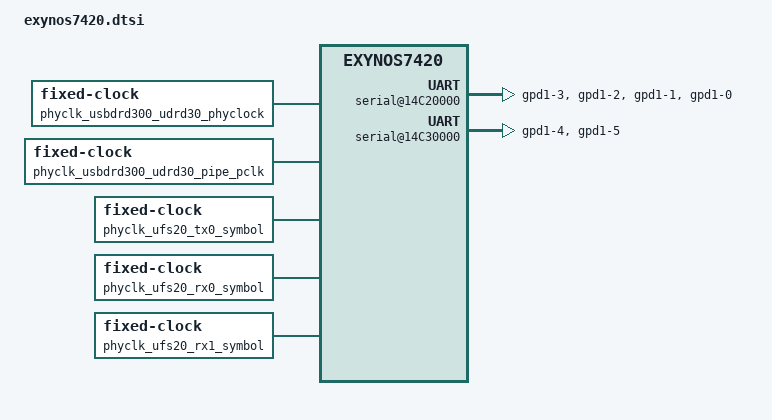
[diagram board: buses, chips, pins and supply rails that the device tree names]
// SPDX-License-Identifier: GPL-2.0+
/*
 * Samsung Exynos7420 SoC device tree source
 *
 * Copyright (c) 2016 Samsung Electronics Co., Ltd.
 *		http://www.samsung.com
 */

/dts-v1/;
#include "skeleton.dtsi"
#include <dt-bindings/clock/exynos7420-clk.h>
/ {
	compatible = "samsung,exynos7420";
	interrupt-parent = <&gic>;

	fin_pll: fin_pll {
		compatible = "fixed-clock";
		clock-output-names = "fin_pll";
		u-boot,dm-pre-reloc;
		#clock-cells = <0>;
	};

	phyclk_usbdrd300_udrd30_phyclock: phyclk_usbdrd300_udrd30_phyclock {
		compatible = "fixed-clock";
		clock-output-names = "phyclk_usbdrd300_udrd30_phyclock";
		#clock-cells = <0>;
		clock-frequency = <60000000>;
	};

	phyclk_usbdrd300_udrd30_pipe_pclk: phyclk_usbdrd300_udrd30_pipe_pclk {
		compatible = "fixed-clock";
		clock-output-names = "phyclk_usbdrd300_udrd30_pipe_pclk";
		#clock-cells = <0>;
		clock-frequency = <125000000>;
	};

	phyclk_ufs20_tx0_symbol: phyclk_ufs20_tx0_symbol {
		compatible = "fixed-clock";
		clock-output-names = "phyclk_ufs20_tx0_symbol";
		#clock-cells = <0>;
		clock-frequency = <300000000>;
	};

	phyclk_ufs20_rx0_symbol: phyclk_ufs20_rx0_symbol {
		compatible = "fixed-clock";
		clock-output-names = "phyclk_ufs20_rx0_symbol";
		#clock-cells = <0>;
		clock-frequency = <300000000>;
	};

	phyclk_ufs20_rx1_symbol: phyclk_ufs20_rx1_symbol {
		compatible = "fixed-clock";
		clock-output-names = "phyclk_ufs20_rx1_symbol";
		#clock-cells = <0>;
		clock-frequency = <300000000>;
	};

	gic: interrupt-controller@11001000 {
		compatible = "arm,gic-400";
		#interrupt-cells = <3>;
		#address-cells = <0>;
		interrupt-controller;
		reg =	<0x11001000 0x1000>,
			<0x11002000 0x1000>,
			<0x11004000 0x2000>,
			<0x11006000 0x2000>;
	};

	clock_topc: clock-controller@10570000 {
		compatible = "samsung,exynos7-clock-topc";
		reg = <0x10570000 0x10000>;
		#clock-cells = <1>;
		clocks = <&fin_pll>;
		clock-names = "fin_pll";
	};

	clock_top0: clock-controller@105d0000 {
		compatible = "samsung,exynos7-clock-top0";
		reg = <0x105d0000 0xb000>;
		#clock-cells = <1>;
		clocks = <&fin_pll>, <&clock_topc DOUT_SCLK_BUS0_PLL>,
				<&clock_topc DOUT_SCLK_BUS1_PLL>,
				<&clock_topc DOUT_SCLK_CC_PLL>,
				<&clock_topc DOUT_SCLK_MFC_PLL>;
		clock-names = "fin_pll", "dout_sclk_bus0_pll",
					"dout_sclk_bus1_pll", "dout_sclk_cc_pll",
					"dout_sclk_mfc_pll";
	};

	clock_top1: clock-controller@105e0000 {
		compatible = "samsung,exynos7-clock-top1";
		reg = <0x105e0000 0xb000>;
		#clock-cells = <1>;
		clocks = <&fin_pll>, <&clock_topc DOUT_SCLK_BUS0_PLL>,
				<&clock_topc DOUT_SCLK_BUS1_PLL>,
				<&clock_topc DOUT_SCLK_CC_PLL>,
				<&clock_topc DOUT_SCLK_MFC_PLL>;
		clock-names = "fin_pll", "dout_sclk_bus0_pll",
					"dout_sclk_bus1_pll", "dout_sclk_cc_pll",
					"dout_sclk_mfc_pll";
	};

	clock_ccore: clock-controller@105b0000 {
		compatible = "samsung,exynos7-clock-ccore";
		reg = <0x105b0000 0xd00>;
		#clock-cells = <1>;
		clocks = <&fin_pll>, <&clock_topc DOUT_ACLK_CCORE_133>;
		clock-names = "fin_pll", "dout_aclk_ccore_133";
	};

	clock_peric0: clock-controller@13610000 {
		compatible = "samsung,exynos7-clock-peric0";
		reg = <0x13610000 0xd00>;
		#clock-cells = <1>;
		clocks = <&fin_pll>, <&clock_top0 DOUT_ACLK_PERIC0>,
				<&clock_top0 CLK_SCLK_UART0>;
		clock-names = "fin_pll", "dout_aclk_peric0_66",
					"sclk_uart0";
	};

	clock_peric1: clock-controller@14c80000 {
		compatible = "samsung,exynos7-clock-peric1";
		reg = <0x14c80000 0xd00>;
		#clock-cells = <1>;
		clocks = <&fin_pll>, <&clock_top0 DOUT_ACLK_PERIC1>,
				<&clock_top0 CLK_SCLK_UART1>,
				<&clock_top0 CLK_SCLK_UART2>,
				<&clock_top0 CLK_SCLK_UART3>;
		clock-names = "fin_pll", "dout_aclk_peric1_66",
					"sclk_uart1", "sclk_uart2", "sclk_uart3";
	};

	clock_peris: clock-controller@10040000 {
		compatible = "samsung,exynos7-clock-peris";
		reg = <0x10040000 0xd00>;
		#clock-cells = <1>;
		clocks = <&fin_pll>, <&clock_topc DOUT_ACLK_PERIS>;
		clock-names = "fin_pll", "dout_aclk_peris_66";
	};

	clock_fsys0: clock-controller@10e90000 {
		compatible = "samsung,exynos7-clock-fsys0";
		reg = <0x10e90000 0xd00>;
		#clock-cells = <1>;
		clocks = <&fin_pll>, <&clock_top1 DOUT_ACLK_FSYS0_200>,
				<&clock_top1 DOUT_SCLK_MMC2>,
				<&phyclk_usbdrd300_udrd30_phyclock>,
				<&phyclk_usbdrd300_udrd30_pipe_pclk>;
		clock-names = "fin_pll", "dout_aclk_fsys0_200",
					"dout_sclk_mmc2",
					"phyclk_usbdrd300_udrd30_phyclock",
					"phyclk_usbdrd300_udrd30_pipe_pclk";
	};

	clock_fsys1: clock-controller@156e0000 {
		compatible = "samsung,exynos7-clock-fsys1";
		reg = <0x156e0000 0xd00>;
		#clock-cells = <1>;
		clocks = <&fin_pll>, <&clock_top1 DOUT_ACLK_FSYS1_200>,
				<&clock_top1 DOUT_SCLK_MMC0>,
				<&clock_top1 DOUT_SCLK_MMC1>,
				<&clock_top1 DOUT_SCLK_UFSUNIPRO20>,
				<&clock_top1 DOUT_SCLK_PHY_FSYS1>,
				<&clock_top1 DOUT_SCLK_PHY_FSYS1_26M>,
				<&phyclk_ufs20_tx0_symbol>,
				<&phyclk_ufs20_rx0_symbol>,
				<&phyclk_ufs20_rx1_symbol>;
		clock-names = "fin_pll", "dout_aclk_fsys1_200",
					"dout_sclk_mmc0", "dout_sclk_mmc1",
					"dout_sclk_ufsunipro20", "dout_sclk_phy_fsys1",
					"dout_sclk_phy_fsys1_26m",
					"phyclk_ufs20_tx0_symbol",
					"phyclk_ufs20_rx0_symbol",
					"phyclk_ufs20_rx1_symbol";
	};

	pinctrl@13470000 {
		compatible = "samsung,exynos7420-pinctrl";
		reg = <0x13470000 0x1000>;
		u-boot,dm-pre-reloc;

		serial1_bus: serial1-bus {
			samsung,pins = "gpd1-3", "gpd1-2", "gpd1-1", "gpd1-0";
			samsung,pin-function = <2>;
			samsung,pin-pud = <3>;
			samsung,pin-drv = <0>;
			u-boot,dm-pre-reloc;
		};

		serial2_bus: serial2-bus {
			samsung,pins = "gpd1-4", "gpd1-5";
			samsung,pin-function = <2>;
			samsung,pin-pud = <3>;
			samsung,pin-drv = <0>;
			u-boot,dm-pre-reloc;
		};
	};

	serial@14C20000 {
		compatible = "samsung,exynos4210-uart";
		reg = <0x14C20000 0x100>;
		u-boot,dm-pre-reloc;
		clocks = <&clock_peric1 PCLK_UART1>,
			 <&clock_peric1 SCLK_UART1>;
		clock-names = "uart", "clk_uart_baud0";
		pinctrl-names = "default";
		pinctrl-0 = <&serial1_bus>;
	};

	serial@14C30000 {
		compatible = "samsung,exynos4210-uart";
		reg = <0x14C30000 0x100>;
		u-boot,dm-pre-reloc;
		clocks = <&clock_peric1 PCLK_UART2>,
			 <&clock_peric1 SCLK_UART2>;
		clock-names = "uart", "clk_uart_baud0";
		pinctrl-names = "default";
		pinctrl-0 = <&serial2_bus>;
	};
};
